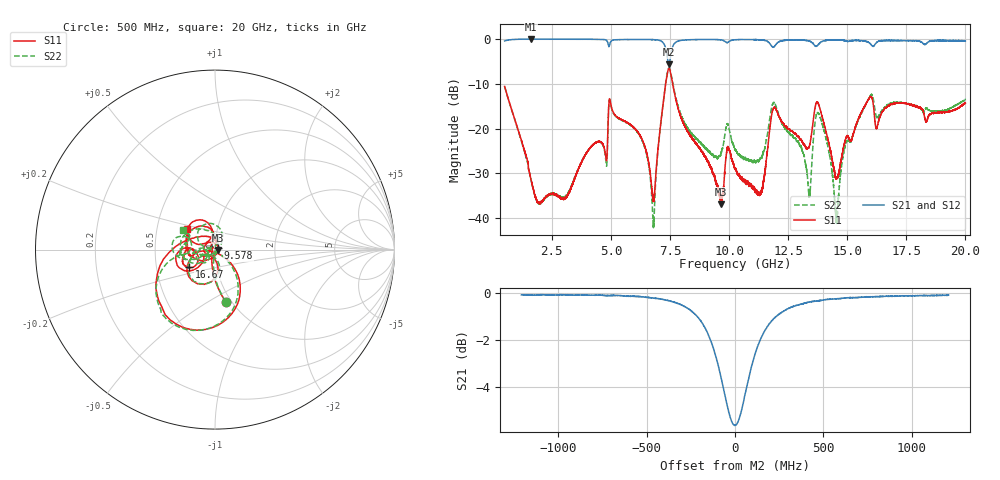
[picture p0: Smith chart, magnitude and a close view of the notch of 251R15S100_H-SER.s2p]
!{251R15S100}
!Johanson Technology Inc.
!www.johansontechnology.com
!Test Board Conditions:
!Substrate Type  RO4350B
!Substrate Thickness  20 mil
!Substrate Dk  3.66
!TL Type: GCPW
!TL Trace Width  34 mil
!TL Gap  10 mil
!Electrode orientation  Horizontal
!DUT TOPOLOGY	SERIES
!Mounting Pad LxW  26x52 mil
! Created Thu Mar 12 16:45:47 2020
# mhz S ma R 50
! 2 Port Network Data from SP1.SP block
! freq  magS11  angS11  magS21  angS21  magS12  angS12  magS22  angS22
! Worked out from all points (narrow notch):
!   19501 points, 500 MHz to 20 GHz, reference 50 ohm
!   highest |S21| = 0.00 dB at 1.615 GHz (marker M1); lowest = -5.7 dB at 7.45 GHz (marker M2)
!   notch at M2: 5.4 dB deep, 202 MHz wide at half that depth
!   lowest |S11| = -36.9 dB at 9.668 GHz (marker M3), VSWR 1.03, Z = 51.4 - j0.212 ohm
!   |S11| at or under -10 dB: start of sweep to 7.315 GHz; 7.613 GHz to end of sweep
!   |S22| runs from -42.1 to -6.4 dB; largest |S21 - S12| = 0.018
!   S11 on the Smith chart (normalised r, x): 500 MHz: 0.94, -0.60; 9.578 GHz: 1.03, +0.02; 16.67 GHz: 0.74, -0.15; 20 GHz: 0.71, +0.17
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500  0.2963 -78.3  0.9524 11.6  0.9532 11.6  0.2959 -78.1
1615  0.0274 -130.6  0.9996 -18.2  0.9987 -18.2  0.02719 -85.4
3750  0.04203 -155.2  0.9957 -53.6  0.9953 -53.6  0.04216 -130.0
4768  0.05099 -143.8  0.9803 -72.1  0.9804 -72.1  0.0486 -145.9
4997  0.1854 -146.9  0.9419 -68.2  0.9425 -68.2  0.1823 -145.8
6336  0.07397 -173.7  0.9896 -93.7  0.9898 -93.8  0.07218 173.6
6790  0.01585 -114.5  0.9866 -103.1  0.9861 -103.0  0.008066 -128.6
7000  0.0626 -40.1  0.9719 -108.8  0.9726 -108.9  0.06141 -40.4
7450  0.4677 -110.5  0.5212 -108.0  0.5223 -108.1  0.4748 -113.4
9578  0.01806 26.9  0.9831 -139.8  0.9839 -139.8  0.04982 -131.7
9668  0.01427 -8.3  0.9779 -141.7  0.9781 -141.7  0.0541 -127.9
9945  0.06328 178.1  0.9181 -143.2  0.9184 -143.2  0.1116 -157.4
10250  0.03584 93.9  0.9829 -148.0  0.9827 -148.0  0.05836 178.4
11324  0.01931 -36.0  0.9812 -167.9  0.9803 -167.9  0.04704 -148.6
11904  0.1726 154.7  0.8194 -172.0  0.8208 -172.0  0.1959 167.0
13500  0.09132 161.7  0.9192 157.6  0.92 157.6  0.04074 165.6
13815  0.1779 112.9  0.8934 162.2  0.8905 162.1  0.1439 94.6
14550  0.02758 156.4  0.977 146.5  0.9772 146.4  0.009238 -47.0
14963  0.0807 -153.6  0.9513 138.4  0.9485 138.6  0.07195 -156.0
16671  0.1734 -145.2  0.9664 113.5  0.9555 113.3  0.1818 -170.7
16750  0.1824 -146.5  0.9654 112.2  0.9605 111.7  0.186 -170.5
20000  0.1936 143.6  0.9551 55.5  0.9547 55.6  0.2114 148.4
